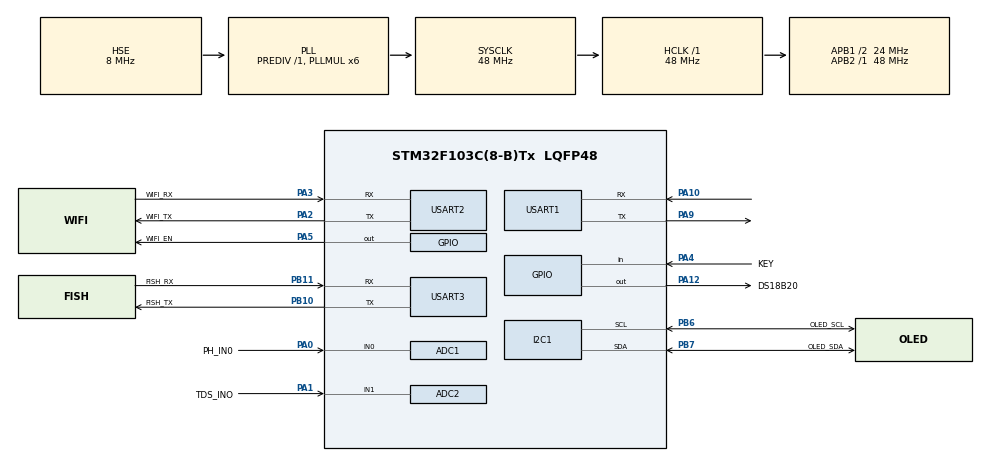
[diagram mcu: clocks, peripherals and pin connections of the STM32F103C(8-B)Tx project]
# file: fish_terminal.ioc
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ADC1.Channel-1\#ChannelRegularConversion=ADC_CHANNEL_0
ADC1.ContinuousConvMode=ENABLE
ADC1.NbrOfConversionFlag=1
ADC1.Rank-1\#ChannelRegularConversion=1
ADC1.SamplingTime-1\#ChannelRegularConversion=ADC_SAMPLETIME_1CYCLE_5
ADC1.master=1
ADC2.Channel-0\#ChannelRegularConversion=ADC_CHANNEL_1
ADC2.ContinuousConvMode=ENABLE
ADC2.NbrOfConversionFlag=1
ADC2.Rank-0\#ChannelRegularConversion=1
ADC2.SamplingTime-0\#ChannelRegularConversion=ADC_SAMPLETIME_1CYCLE_5
Mcu.Family=STM32F1
Mcu.Name=STM32F103C(8-B)Tx
Mcu.Package=LQFP48
NVIC.PriorityGroup=NVIC_PRIORITYGROUP_4
NVIC.TIM1_UP_IRQn=true\:15\:0\:false\:false\:true\:false\:false\:true
NVIC.TimeBase=TIM1_UP_IRQn
NVIC.TimeBaseIP=TIM1
NVIC.USART2_IRQn=true\:0\:0\:false\:false\:true\:false\:true\:true
PA0-WKUP.GPIO_Label=PH_IN0
PA0-WKUP.Signal=ADCx_IN0
PA1.GPIO_Label=TDS_INO
PA1.Signal=ADCx_IN1
PA10.Mode=Asynchronous
PA10.Signal=USART1_RX
PA12.GPIO_Label=DS18B20
PA12.GPIO_ModeDefaultOutputPP=GPIO_MODE_OUTPUT_OD
PA12.GPIO_PuPd=GPIO_PULLUP
PA12.Signal=GPIO_Output
PA13.Mode=Serial_Wire
PA13.Signal=SYS_JTMS-SWDIO
PA14.Mode=Serial_Wire
PA14.Signal=SYS_JTCK-SWCLK
PA2.GPIO_Label=WIFI_TX
PA2.Mode=Asynchronous
PA2.Signal=USART2_TX
PA3.GPIO_Label=WIFI_RX
PA3.Mode=Asynchronous
PA3.Signal=USART2_RX
PA4.GPIO_Label=KEY
PA4.Signal=GPIO_Input
PA5.GPIO_Label=WIFI_EN
PA5.Signal=GPIO_Output
PA9.Mode=Asynchronous
PA9.Signal=USART1_TX
PB10.GPIO_Label=FISH_TX
PB10.Mode=Asynchronous
PB10.Signal=USART3_TX
PB11.GPIO_Label=FISH_RX
PB11.Mode=Asynchronous
PB11.Signal=USART3_RX
PB6.GPIO_Label=OLED_SCL
PB6.Mode=I2C
PB6.Signal=I2C1_SCL
PB7.GPIO_Label=OLED_SDA
PB7.Mode=I2C
PB7.Signal=I2C1_SDA
PD0-OSC_IN.Mode=HSE-External-Oscillator
PD0-OSC_IN.Signal=RCC_OSC_IN
PD1-OSC_OUT.Mode=HSE-External-Oscillator
PD1-OSC_OUT.Signal=RCC_OSC_OUT
ProjectManager.HeapSize=0x200
ProjectManager.StackSize=0x400
ProjectManager.TargetToolchain=MDK-ARM V5.32
RCC.ADCPresc=RCC_ADCPCLK2_DIV4
RCC.AHBFreq_Value=48000000
RCC.APB1CLKDivider=RCC_HCLK_DIV2
RCC.APB1Freq_Value=24000000
RCC.APB1TimFreq_Value=48000000
RCC.APB2Freq_Value=48000000
RCC.APB2TimFreq_Value=48000000
RCC.HCLKFreq_Value=48000000
RCC.PLLMUL=RCC_PLL_MUL6
RCC.PLLSourceVirtual=RCC_PLLSOURCE_HSE
RCC.SYSCLKFreq_VALUE=48000000
RCC.SYSCLKSource=RCC_SYSCLKSOURCE_PLLCLK
RCC.USBFreq_Value=48000000
SH.ADCx_IN0.0=ADC1_IN0,IN0
SH.ADCx_IN1.0=ADC2_IN1,IN1
TIM3.Prescaler=47
USART1.VirtualMode=VM_ASYNC
USART2.VirtualMode=VM_ASYNC
USART3.VirtualMode=VM_ASYNC
VP_SYS_VS_tim1.Mode=TIM1
VP_TIM3_VS_ClockSourceINT.Mode=Internal
board=custom

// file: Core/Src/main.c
/* USER CODE BEGIN Header */
/**
 ******************************************************************************
 * @file           : main.c
 * @brief          : Main program body
 ******************************************************************************
 * @attention
 *
 * Copyright (c) 2025 STMicroelectronics.
 * All rights reserved.
 *
 * This software is licensed under terms that can be found in the LICENSE file
 * in the root directory of this software component.
 * If no LICENSE file comes with this software, it is provided AS-IS.
 *
 ******************************************************************************
 */
/* USER CODE END Header */
#include "main.h"
#include "adc.h"
#include "i2c.h"
#include "tim.h"
#include "usart.h"
#include "gpio.h"

/* USER CODE BEGIN Includes */
#include <rtthread.h>
#include "esp01s.h"
#include <stdint.h>
#include "ds18b20.h"
#include "global.h"
#include <stdio.h>
#include <stdlib.h>
#include <string.h>
#include "oled.h"

/* USER CODE END Includes */

/* USER CODE BEGIN PV */
extern ADC_HandleTypeDef hadc2; // 确保 ADC 句柄全局可用
char usart2_c;
int dataLen;
char dataLenStr[dataMaxLen];
float ADC_ConvertedValueLocal[3] = {0};
uint16_t ADC_ConvertedValue[3] = {0};
float compensationCoefficient, compensationVoltage;
float kValue = 1.0; // 传感器校准系�????
char TEMP_Buff[5];  // 温度存放数组
char TDS_Buff[6];   // TDS存放数组
float TEMP_Value = 0.0;
float PH_Value = 0.0;
float TDS_Value = 0.0;
char *realCommand;
int pub_tick = 0;
/* USER CODE END PV */

void SystemClock_Config(void);

int main(void)
{

  /* MCU Configuration--------------------------------------------------------*/

  /* Reset of all peripherals, Initializes the Flash interface and the Systick. */
  HAL_Init();

  /* Configure the system clock */
  SystemClock_Config();

  /* Initialize all configured peripherals */
  MX_GPIO_Init();
  MX_ADC1_Init();
  MX_I2C1_Init();
  MX_USART1_UART_Init();
  MX_USART2_UART_Init();
  MX_USART3_UART_Init();
  MX_ADC2_Init();
  MX_TIM3_Init();
  /* USER CODE BEGIN 2 */

  HAL_UART_Receive_IT(&huart2, (uint8_t *)&usart2_c, 1);
  HAL_TIM_Base_Start(&htim3);

  rt_thread_t Water_quality_testing = rt_thread_begin("Water_quality_testing",
                                                      testing_water, RT_NULL,
                                                      1024, 3, 10);

  rt_thread_t oled_task = rt_thread_begin("oled_task",
                                          oled_menu, RT_NULL,
                                          1024, 3, 10);

  rt_thread_t data_controller_task = rt_thread_begin("data_controller_task",
                                                     data_controller, RT_NULL,
                                                     1024, 3, 10);

  while (esp_flag == 0)
  {
    rt_thread_mdelay(20);
  }

  /* USER CODE END 2 */

  /* Infinite loop */
  while (1)
  {

    rt_thread_mdelay(50);
  }
}

void SystemClock_Config(void)
{
  RCC_OscInitTypeDef RCC_OscInitStruct = {0};
  RCC_ClkInitTypeDef RCC_ClkInitStruct = {0};
  RCC_PeriphCLKInitTypeDef PeriphClkInit = {0};

  /** Initializes the RCC Oscillators according to the specified parameters
   * in the RCC_OscInitTypeDef structure.
   */
  RCC_OscInitStruct.OscillatorType = RCC_OSCILLATORTYPE_HSE;
  RCC_OscInitStruct.HSEState = RCC_HSE_ON;
  RCC_OscInitStruct.HSEPredivValue = RCC_HSE_PREDIV_DIV1;
  RCC_OscInitStruct.HSIState = RCC_HSI_ON;
  RCC_OscInitStruct.PLL.PLLState = RCC_PLL_ON;
  RCC_OscInitStruct.PLL.PLLSource = RCC_PLLSOURCE_HSE;
  RCC_OscInitStruct.PLL.PLLMUL = RCC_PLL_MUL6;
  if (HAL_RCC_OscConfig(&RCC_OscInitStruct) != HAL_OK)
  {
    Error_Handler();
  }

  /** Initializes the CPU, AHB and APB buses clocks
   */
  RCC_ClkInitStruct.ClockType = RCC_CLOCKTYPE_HCLK | RCC_CLOCKTYPE_SYSCLK | RCC_CLOCKTYPE_PCLK1 | RCC_CLOCKTYPE_PCLK2;
  RCC_ClkInitStruct.SYSCLKSource = RCC_SYSCLKSOURCE_PLLCLK;
  RCC_ClkInitStruct.AHBCLKDivider = RCC_SYSCLK_DIV1;
  RCC_ClkInitStruct.APB1CLKDivider = RCC_HCLK_DIV2;
  RCC_ClkInitStruct.APB2CLKDivider = RCC_HCLK_DIV1;

  if (HAL_RCC_ClockConfig(&RCC_ClkInitStruct, FLASH_LATENCY_1) != HAL_OK)
  {
    Error_Handler();
  }
  PeriphClkInit.PeriphClockSelection = RCC_PERIPHCLK_ADC;
  PeriphClkInit.AdcClockSelection = RCC_ADCPCLK2_DIV4;
  if (HAL_RCCEx_PeriphCLKConfig(&PeriphClkInit) != HAL_OK)
  {
    Error_Handler();
  }
}

/* USER CODE BEGIN 4 */
// 创建并启动一个线程
rt_thread_t rt_thread_begin(const char *name,
                            void (*entry)(void *parameter),
                            void *parameter,
                            rt_uint32_t stack_size,
                            rt_uint8_t priority,
                            rt_uint32_t tick)
{
  // 创建线程
  rt_thread_t task = rt_thread_create(name,
                                      entry, RT_NULL,
                                      stack_size, priority, tick);

  // 如果线程创建成功，则启动线程
  if (task != RT_NULL)
  {
    rt_thread_startup(task);                            // 启动线程
    rt_kprintf("%s thread is already started\n", name); // 打印线程启动信息
    return task;
  }
  else
  {
    rt_kprintf("%s thread is not started\n", name); // 打印线程启动失败信息
    return RT_NULL;                                 // 返回 NULL 表示线程创建失败
  }
}

// 获取浑浊度和温度信息
void testing_water(void *prmt)
{
  DS18B20_Init(); // 初始化温度传感器 DS18B20

  // 等待 ESP 标志位为 1 才开始运行
  while (esp_flag == 0)
  {
    rt_thread_mdelay(50); // 延时50ms
  }

  // 主循环获取水温和浑浊度数据
  while (1)
  {
    rt_kprintf("正在运行:getturbidity\n"); // 打印获取浑浊度信息

    // 获取温度并转换为浮动温度值（单位°C）
    TEMP_Value = (float)DS18B20_Get_Temp() / 10;

    // 将温度值格式化为字符数组以便显示
    TEMP_Buff[0] = (int)(TEMP_Value) % 1000 / 100 + '0';
    TEMP_Buff[1] = (int)(TEMP_Value) % 100 / 10 + '0';
    TEMP_Buff[2] = '.';
    TEMP_Buff[3] = (int)(TEMP_Value) % 10 + '0';

    // 获取并转换 TDS（总溶解固体）值
    TDS_Value_Conversion(TEMP_Value);

    // 获取 pH 值
    PH_Value = Get_pH_Value();

    // 打印 TDS、温度和 pH 值
    rt_kprintf("tds: %d\ntemp:%d", (int)TDS_Value, (int)TEMP_Value);

    rt_thread_mdelay(1000); // 每隔 1 秒获取一次数据
  }
}

// 获取 pH 值的函数
float Get_pH_Value(void)
{
  // 1. 读取 ADC 数据
  HAL_ADC_Start(&hadc1);                            // 启动 ADC 转换
  HAL_ADC_PollForConversion(&hadc1, HAL_MAX_DELAY); // 等待转换完成
  uint32_t adc_value = HAL_ADC_GetValue(&hadc1);    // 获取 ADC 转换结果
  HAL_ADC_Stop(&hadc1);                             // 停止 ADC 转换

  // 2. 计算电压 (假设 Vref = 3.3V, 12-bit ADC)
  float voltage = (adc_value / 4095.0) * 3.3;
  rt_kprintf("电压大小: %d\n", (int)(voltage * 1000));

  // 3. 计算 pH 值 (pH 7 对应 2.5V, 斜率 59.16 mV/pH)
  float pH = (voltage - 2.5) / 0.05916 + 7.0;

  // 4. 进行温度补偿 (温度漂移系数 -0.03 pH/°C)
  float pH_T = pH + (TEMP_Value - 25.0) * (-0.03);

  return pH_T; // 返回计算后的 pH 值
}

// OLED 显示函数
void oled_menu(void *prmt)
{
  OLED_Init();      // 初始化 OLED 显示器
  OLED_Clear();     // 清屏
  OLED_ShowStart(); // 显示启动画面

  // 等待 ESP 标志位为 1 才开始运行
  while (esp_flag == 0)
  {
    rt_thread_mdelay(50); // 延时50ms
  }

  OLED_Clear(); // 清屏
  // 显示各项信息的文字
  OLED_ShowCHinese(index[0][0].x, index[0][0].y, 10); // 温
  OLED_ShowCHinese(index[0][1].x, index[0][1].y, 13); // 度
  OLED_ShowChar(index[0][2].x, index[0][2].y, ':', 16);

  OLED_ShowCHinese(index[1][0].x, index[1][0].y, 11); // 浑
  OLED_ShowCHinese(index[1][1].x, index[1][1].y, 12); // 浊
  OLED_ShowCHinese(index[1][2].x, index[1][2].y, 13); // 度
  OLED_ShowChar(index[1][3].x, index[1][3].y, ':', 16);

  OLED_ShowString(index[2][0].x, index[2][0].y, "PH", 16); // PH
  OLED_ShowChar(index[2][1].x, index[2][1].y, ':', 16);

  while (1)
  {
    // 显示温度信息
    {
      char tempStr[5]; // 用来存放格式化后的字符串
      format_string(tempStr, TEMP_Value, 5);
      OLED_ShowString(index[0][3].x, index[0][3].y, tempStr, 16); // 显示温度
    }

    // 显示 TDS 信息
    {
      char TDSStr[6]; // 用来存放格式化后的字符串
      format_string(TDSStr, TDS_Value, 6);
      OLED_ShowString(index[1][4].x, index[1][4].y, TDSStr, 16); // 显示 TDS
    }

    // 显示 pH 信息
    {
      char phStr[5]; // 用来存放格式化后的字符串
      format_string(phStr, PH_Value, 5);
      OLED_ShowString(index[2][2].x, index[2][2].y, phStr, 16); // 显示 pH 值
    }

    rt_thread_mdelay(1000); // 每秒更新一次显示
  }
}

// 数据控制 - Wi-Fi 通信
void data_controller(void *prmt)
{
  // Wi-Fi 初始化
  Esp01s_Init("504", "abcd761124", "119.29.243.196", 8887);

  // 等待 ESP 标志位为 1 才开始通信
  while (esp_flag)
  {
    char buffer[100]; // 预留足够的空间存放数据

    // 格式化数据并发送给 Wi-Fi
    sprintf(buffer, "data:%.1f,%.1f,%.1f\n", TEMP_Value, PH_Value, TDS_Value);
    rt_kprintf("发送数据:%s\n", buffer);
    espSend(buffer, 0); // 通过 ESP 发送数据
    rt_kprintf("正在运行:wifi通信\n");
    rt_thread_mdelay(30000); // 每 30 秒发送一次数据
  }
}

// TDS 值转换函数
void TDS_Value_Conversion()
{
  // 读取 ADC 电压（通过 HAL 库）
  HAL_ADC_Start(&hadc2);
  HAL_ADC_PollForConversion(&hadc2, 10);            // 等待 ADC 转换完成
  ADC_ConvertedValue[0] = HAL_ADC_GetValue(&hadc2); // 获取 ADC 转换值
  HAL_ADC_Stop(&hadc2);                             // 停止 ADC 转换

  // 计算 ADC 转换结果对应的电压值
  ADC_ConvertedValueLocal[0] = (float)ADC_ConvertedValue[0] / 4096 * 3.3;

  // 计算温度补偿系数
  compensationCoefficient = 1.0 + 0.02 * (TEMP_Value - 25.0);
  compensationVoltage = ADC_ConvertedValueLocal[0] / compensationCoefficient;

  // 使用公式计算 TDS 值
  if (ADC_ConvertedValueLocal[0] >= 0 && ADC_ConvertedValueLocal[0] < 0.1)
  {
    compensationVoltage = 0;
  }

  TDS_Value = (133.42 * compensationVoltage * compensationVoltage * compensationVoltage - 255.86 * compensationVoltage * compensationVoltage + 857.39 * compensationVoltage)
                   * 0.5 * kValue;

  // 限制 TDS 值的范围
  if (TDS_Value <= 0)
  {
    TDS_Value = 0;
  }
  if (TDS_Value > 1400)
  {
    TDS_Value = 1400;
  }
}

// 清空 USART 接收缓冲区
void clearUsart()
{
  memset(usart2_rx_buffer, 0, sizeof(usart2_rx_buffer));
  usart2_rx_index = 0;
}

// 接收数据函数
void reciveData()
{
  // 如果接收缓冲区未满，继续接收数据
  if (usart2_rx_index == -1)
    usart2_rx_index++;
  else
  {
    switch (esp_command_flag)
    {
    case 1:
      if (usart2_rx_index < dataMaxLen)
      {
        dataLenStr[usart2_rx_index++] = usart2_c;
      }
      else
      {
        rt_kprintf("data too long!\n"); // 数据过长
      }
      break;
    case 2:
      if (usart2_rx_index < dataLen)
      {
        realCommand[usart2_rx_index++] = usart2_c;
      }
      else
      {
        rt_kprintf("data error!\n"); // 数据错误
      }
      break;
    default:
      usart2_rx_buffer[usart2_rx_index++] = usart2_c;
      break;
    }
  }
}

// USART 中断回调函数
void HAL_UART_RxCpltCallback(UART_HandleTypeDef *huart)
{
  if (huart == &huart2)
  {
    if (esp_command_flag == 3)
      esp_command_flag = 0; // 处理特定的命令标志
    if (usart2_rx_index >= BUFFER_SIZE - 1)
    {
      clearUsart(); // 如果缓冲区满，清空缓冲区
    }
    if (usart2_c == '\n')
    {
      rt_kprintf("%s", usart2_rx_buffer); // 打印接收到的数据
    }

    reciveData();                                          // 处理接收到的数据
    HAL_UART_Receive_IT(&huart2, (uint8_t *)&usart2_c, 1); // 重新开启接收中断
  }
}

/* USER CODE END 4 */

void HAL_TIM_PeriodElapsedCallback(TIM_HandleTypeDef *htim)
{
  if (htim->Instance == TIM1)
  {
    HAL_IncTick();
  }
}

void Error_Handler(void)
{
  __disable_irq();
  while (1)
  {
  }
}
